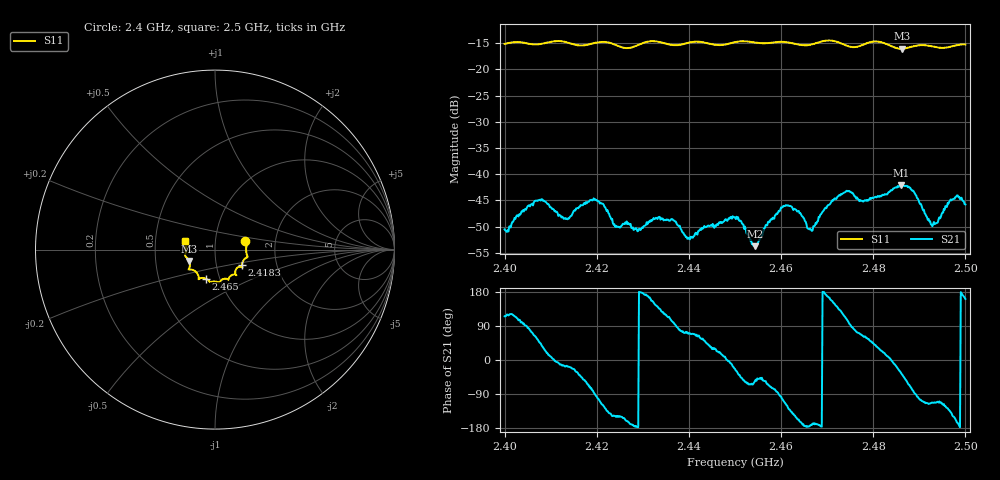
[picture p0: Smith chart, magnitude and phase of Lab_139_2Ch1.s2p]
# Hz S RI R 50
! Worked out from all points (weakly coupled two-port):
!   601 points, 2.4 GHz to 2.5 GHz, reference 50 ohm
!   highest |S21| = -42.12 dB at 2.486 GHz (marker M1); lowest = -53.7 dB at 2.4543 GHz (marker M2)
!   lowest |S11| = -16.1 dB at 2.4862 GHz (marker M3), VSWR 1.37, Z = 37.2 - j4.82 ohm
!   |S11| at or under -10 dB: start of sweep to end of sweep
!   S12 and S22 are empty: the file has one direction only
!   S11 on the Smith chart (normalised r, x): 2.4 GHz: 1.40, +0.14; 2.4183 GHz: 1.33, -0.24; 2.465 GHz: 0.86, -0.28; 2.5 GHz: 0.71, +0.07
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2.4e9  0.1687 0.0469  -0.00127 0.00268  0 0  0 0
2.407e9  0.1728 -0.00345  0.0031 0.00466  0 0  0 0
2.413333e9  0.1766 -0.0439  0.00358 -0.00103  0 0  0 0
2.416667e9  0.1547 -0.0682  0.00357 -0.00357  0 0  0 0
2.418333e9  0.1502 -0.0868  0.00185 -0.00514  0 0  0 0
2.421333e9  0.1532 -0.0999  -0.00252 -0.00456  0 0  0 0
2.4245e9  0.1386 -0.0951  -0.00274 -0.00157  0 0  0 0
2.433333e9  0.1175 -0.1408  -0.0029 0.00255  0 0  0 0
2.44e9  0.0761 -0.163  0.000854 0.00232  0 0  0 0
2.45e9  0.0261 -0.1802  0.00354 -0.00155  0 0  0 0
2.454333e9  0.0124 -0.1801  0.00117 -0.00169  0 0  0 0
2.4605e9  -0.0281 -0.181  -0.00149 -0.00475  0 0  0 0
2.465e9  -0.0525 -0.1615  -0.00374 -0.000381  0 0  0 0
2.466667e9  -0.0713 -0.1578  -0.00284 -0.000425  0 0  0 0
2.473833e9  -0.0934 -0.1435  -0.00278 0.0061  0 0  0 0
2.4775e9  -0.1274 -0.1122  0.00229 0.00506  0 0  0 0
2.483333e9  -0.1412 -0.0965  0.00669 0.000868  0 0  0 0
2.486e9  -0.1431 -0.0651  0.00653 -0.00433  0 0  0 0
2.486167e9  -0.1439 -0.0632  0.00622 -0.00469  0 0  0 0
2.493e9  -0.1638 -0.0203  -0.00129 -0.00306  0 0  0 0
2.497833e9  -0.1658 0.0341  -0.00553 -0.00245  0 0  0 0
2.5e9  -0.1666 0.0468  -0.00486 0.00166  0 0  0 0
